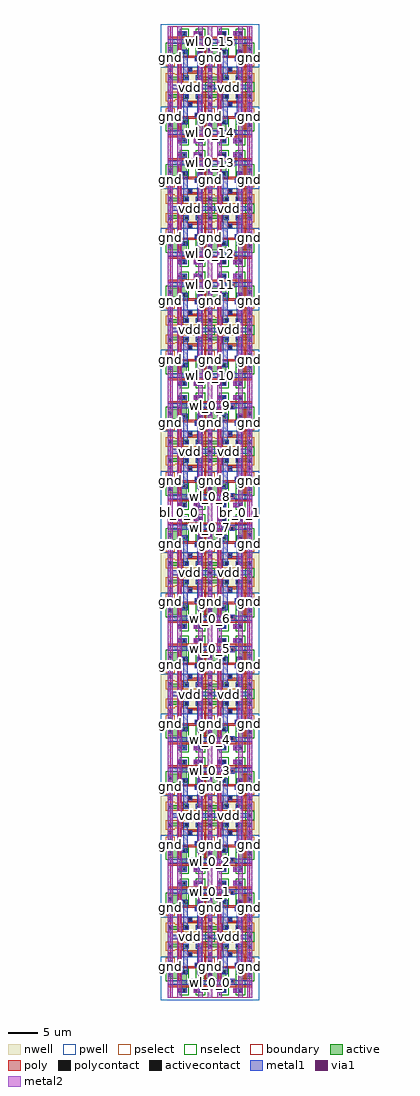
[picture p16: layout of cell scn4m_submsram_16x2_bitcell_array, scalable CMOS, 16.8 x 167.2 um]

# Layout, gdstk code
import gdstk
lib = gdstk.Library(unit=1e-6, precision=1e-09)
def R(c, l, rs):  # rectangles x0, y0, x1, y1
    for r in rs: c.add(gdstk.rectangle(r[:2], r[2:], *l))
def A(c, l, x, y, w, h, nx, ny, dx, dy):  # array of equal rectangles
    R(c, l, [(x+i*dx, y+j*dy, x+i*dx+w, y+j*dy+h) for i in range(nx) for j in range(ny)])
pwell = (41, 0)
nwell = (42, 0)
active = (43, 0)
pselect = (44, 0)
nselect = (45, 0)
poly = (46, 0)
polycontact = (47, 0)
activecontact = (48, 0)
metal1 = (49, 0)
via1 = (50, 0)
metal2 = (51, 0)
boundary = (63, 0)

cell_1rw = lib.new_cell('cell_1rw')
R(cell_1rw, pwell, [(-1.6,-0.4,8.4,7)])
R(cell_1rw, nwell, [(-1.6,7,8.4,11.4)])
A(cell_1rw, active, 2.4, 8.4, 0.8, 0.2, 3, 1, 2, 0)
R(cell_1rw, active, [(2,0.8,2.8,3.2), (4.8,0.8,5.6,3.2), (-0.4,3.2,2.8,4.8), (4.8,3.2,7.2,4.8), (-0.4,5.6,0.4,6.4), (6.4,5.6,7.2,6.4), (-0.4,8.4,0.4,8.6), (-0.4,8.6,3.2,9.2), (4.4,8.6,7.2,9.2), (6.4,10,7.2,10.8)])
R(cell_1rw, pselect, [(-0.8,5.2,0.8,6.8), (6,5.2,7.6,6.8), (-0.8,8,0.8,8.2), (2,8,7.6,8.2), (-0.8,8.2,7.6,9.6)])
R(cell_1rw, nselect, [(1.6,0.4,3.2,2.8), (4.4,0.4,6,2.8), (-0.8,2.8,3.2,5.2), (4.4,2.8,7.6,5.2), (6,9.6,7.6,11.2)])
R(cell_1rw, poly, [(-0.4,1.8,7.2,2.2), (3.4,2.2,4.2,3.2), (1.4,2.8,1.8,5), (5.8,2.8,6.2,7.6), (1.4,5,4.8,5.2), (1.4,5.2,5,5.4), (1.4,5.4,1.8,8.2), (4.2,5.4,5,6), (3,7,3.8,7.6), (3,7.6,6.2,8), (5.4,8,6.2,9.6), (1.4,8.2,2.2,9.6)])
R(cell_1rw, polycontact, [(3.6,2.6,4,3), (4.4,5.4,4.8,5.8), (3.2,7.2,3.6,7.6)])
A(cell_1rw, activecontact, 2.6, 8.6, 0.4, 0.4, 3, 1, 2, 0)
R(cell_1rw, activecontact, [(2.2,1,2.6,1.4), (5,1,5.4,1.4), (-0.2,3.8,0.2,4.2), (6.6,3.8,7,4.2), (2.2,4.2,2.6,4.6), (5,4.2,5.4,4.6), (-0.2,5.8,0.2,6.2), (6.6,5.8,7,6.2), (-0.2,8.6,0.2,9), (6.6,10.2,7,10.6)])
R(cell_1rw, metal1, [(1.2,0.8,2.8,1.6), (4,0.8,5.6,1.6), (-0.4,2.2,7.2,3), (-0.4,2.2,7.2,3), (3.4,3,4.2,3.2), (-0.4,3.6,0.4,7.8), (6.4,3.6,7.2,7.8), (2,4,3,4.8), (4.6,4,5.6,4.8), (2.2,4.8,3,7), (4.6,4.8,5.4,5.2), (4.2,5.2,5.4,6), (4.6,6,5.4,8.4), (2.2,7,3.8,7.8), (2.2,7.8,3,8.4), (-0.4,8.4,0.4,10), (2.2,8.4,3.2,9.2), (4.4,8.4,5.4,9.2), (6.4,8.4,7.2,10), (-0.4,10,7.2,10.8), (-0.4,10,7.2,10.8)])
R(cell_1rw, via1, [(1.4,1,1.8,1.4), (4.2,1,4.6,1.4), (-0.2,7.2,0.2,7.6), (6.6,7.2,7,7.6)])
R(cell_1rw, metal2, [(-0.4,0,0.4,10.8), (-0.4,0,0.4,10.8), (1.2,0,2,10.8), (1.2,0,2,10.8), (4.8,0,5.6,0.8), (6.4,0,7.2,10.8), (6.4,0,7.2,10.8), (4,0.8,5.6,1.6), (4.8,1.6,5.6,10.8), (4.8,1.6,5.6,10.8)])
R(cell_1rw, boundary, [(0,0,6.8,10.4)])
cell_1rw.add(gdstk.Label('vdd', (3.43,10.4), layer=49, texttype=0))
cell_1rw.add(gdstk.Label('wl', (0.8,2.6), layer=49, texttype=0))
cell_1rw.add(gdstk.Label('Q', (3.4,7.4), layer=49, texttype=0))
cell_1rw.add(gdstk.Label('Q_bar', (4.6,5.6), layer=49, texttype=0))
cell_1rw.add(gdstk.Label('gnd', (0,1.2), layer=51, texttype=0))
cell_1rw.add(gdstk.Label('gnd', (6.8,1.2), layer=51, texttype=0))
cell_1rw.add(gdstk.Label('bl', (1.6,9.8), layer=51, texttype=0))
cell_1rw.add(gdstk.Label('br', (5.2,9.8), layer=51, texttype=0))
cell_1rw.add(gdstk.Label('bl', (1.6,5.4), layer=51, texttype=0))
cell_1rw.add(gdstk.Label('br', (5.2,6.2), layer=51, texttype=0))
cell_1rw.add(gdstk.Label('wl', (3.4,2.6), layer=49, texttype=0))
cell_1rw.add(gdstk.Label('vdd', (3.4,10.4), layer=49, texttype=0))
cell_1rw.add(gdstk.Label('gnd', (0,5.4), layer=51, texttype=0))
cell_1rw.add(gdstk.Label('gnd', (6.8,5.4), layer=51, texttype=0))

scn4m_submsram_16x2_bitc = lib.new_cell('scn4m_submsram_16x2_bitcell_array')
A(scn4m_submsram_16x2_bitc, metal1, -0.4, 10, 7.6, 0.8, 1, 8, 0, 20.8)
A(scn4m_submsram_16x2_bitc, metal1, 6.4, 10, 7.6, 0.8, 1, 8, 0, 20.8)
R(scn4m_submsram_16x2_bitc, metal1, [(0,2.2,13.6,3), (0,17.8,13.6,18.6), (0,23,13.6,23.8), (0,38.6,13.6,39.4), (0,43.8,13.6,44.6), (0,59.4,13.6,60.2), (0,64.6,13.6,65.4), (0,80.2,13.6,81), (0,85.4,13.6,86.2), (0,101,13.6,101.8), (0,106.2,13.6,107), (0,121.8,13.6,122.6), (0,127,13.6,127.8), (0,142.6,13.6,143.4), (0,147.8,13.6,148.6), (0,163.4,13.6,164.2)])
A(scn4m_submsram_16x2_bitc, metal2, -0.4, 0, 0.8, 10.8, 3, 2, 6.8, 10)
A(scn4m_submsram_16x2_bitc, metal2, -0.4, 20.8, 0.8, 10.8, 3, 2, 6.8, 10)
A(scn4m_submsram_16x2_bitc, metal2, -0.4, 41.6, 0.8, 10.8, 3, 2, 6.8, 10)
A(scn4m_submsram_16x2_bitc, metal2, -0.4, 62.4, 0.8, 10.8, 3, 2, 6.8, 10)
A(scn4m_submsram_16x2_bitc, metal2, -0.4, 83.2, 0.8, 10.8, 3, 2, 6.8, 10)
A(scn4m_submsram_16x2_bitc, metal2, -0.4, 104, 0.8, 10.8, 3, 2, 6.8, 10)
A(scn4m_submsram_16x2_bitc, metal2, -0.4, 124.8, 0.8, 10.8, 3, 2, 6.8, 10)
A(scn4m_submsram_16x2_bitc, metal2, -0.4, 145.6, 0.8, 10.8, 3, 2, 6.8, 10)
R(scn4m_submsram_16x2_bitc, metal2, [(1.2,0,2,166.4), (4.8,0,5.6,166.4), (8,0,8.8,166.4), (11.6,0,12.4,166.4)])
R(scn4m_submsram_16x2_bitc, boundary, [(0,0,13.6,166.4)])
scn4m_submsram_16x2_bitc.add(gdstk.Reference(cell_1rw, (0,0)))
scn4m_submsram_16x2_bitc.add(gdstk.Reference(cell_1rw, (0,20.8), x_reflection=True))
scn4m_submsram_16x2_bitc.add(gdstk.Reference(cell_1rw, (0,20.8)))
scn4m_submsram_16x2_bitc.add(gdstk.Reference(cell_1rw, (0,41.6), x_reflection=True))
scn4m_submsram_16x2_bitc.add(gdstk.Reference(cell_1rw, (0,41.6)))
scn4m_submsram_16x2_bitc.add(gdstk.Reference(cell_1rw, (0,62.4), x_reflection=True))
scn4m_submsram_16x2_bitc.add(gdstk.Reference(cell_1rw, (0,62.4)))
scn4m_submsram_16x2_bitc.add(gdstk.Reference(cell_1rw, (0,83.2), x_reflection=True))
scn4m_submsram_16x2_bitc.add(gdstk.Reference(cell_1rw, (0,83.2)))
scn4m_submsram_16x2_bitc.add(gdstk.Reference(cell_1rw, (0,104), x_reflection=True))
scn4m_submsram_16x2_bitc.add(gdstk.Reference(cell_1rw, (0,104)))
scn4m_submsram_16x2_bitc.add(gdstk.Reference(cell_1rw, (0,124.8), x_reflection=True))
scn4m_submsram_16x2_bitc.add(gdstk.Reference(cell_1rw, (0,124.8)))
scn4m_submsram_16x2_bitc.add(gdstk.Reference(cell_1rw, (0,145.6), x_reflection=True))
scn4m_submsram_16x2_bitc.add(gdstk.Reference(cell_1rw, (0,145.6)))
scn4m_submsram_16x2_bitc.add(gdstk.Reference(cell_1rw, (0,166.4), x_reflection=True))
scn4m_submsram_16x2_bitc.add(gdstk.Reference(cell_1rw, (6.8,0)))
scn4m_submsram_16x2_bitc.add(gdstk.Reference(cell_1rw, (6.8,20.8), x_reflection=True))
scn4m_submsram_16x2_bitc.add(gdstk.Reference(cell_1rw, (6.8,20.8)))
scn4m_submsram_16x2_bitc.add(gdstk.Reference(cell_1rw, (6.8,41.6), x_reflection=True))
scn4m_submsram_16x2_bitc.add(gdstk.Reference(cell_1rw, (6.8,41.6)))
scn4m_submsram_16x2_bitc.add(gdstk.Reference(cell_1rw, (6.8,62.4), x_reflection=True))
scn4m_submsram_16x2_bitc.add(gdstk.Reference(cell_1rw, (6.8,62.4)))
scn4m_submsram_16x2_bitc.add(gdstk.Reference(cell_1rw, (6.8,83.2), x_reflection=True))
scn4m_submsram_16x2_bitc.add(gdstk.Reference(cell_1rw, (6.8,83.2)))
scn4m_submsram_16x2_bitc.add(gdstk.Reference(cell_1rw, (6.8,104), x_reflection=True))
scn4m_submsram_16x2_bitc.add(gdstk.Reference(cell_1rw, (6.8,104)))
scn4m_submsram_16x2_bitc.add(gdstk.Reference(cell_1rw, (6.8,124.8), x_reflection=True))
scn4m_submsram_16x2_bitc.add(gdstk.Reference(cell_1rw, (6.8,124.8)))
scn4m_submsram_16x2_bitc.add(gdstk.Reference(cell_1rw, (6.8,145.6), x_reflection=True))
scn4m_submsram_16x2_bitc.add(gdstk.Reference(cell_1rw, (6.8,145.6)))
scn4m_submsram_16x2_bitc.add(gdstk.Reference(cell_1rw, (6.8,166.4), x_reflection=True))
scn4m_submsram_16x2_bitc.add(gdstk.Label('bl_0_0', (1.6,83.2), layer=51, texttype=0))
scn4m_submsram_16x2_bitc.add(gdstk.Label('br_0_0', (5.2,83.2), layer=51, texttype=0))
scn4m_submsram_16x2_bitc.add(gdstk.Label('bl_0_1', (8.4,83.2), layer=51, texttype=0))
scn4m_submsram_16x2_bitc.add(gdstk.Label('br_0_1', (12,83.2), layer=51, texttype=0))
scn4m_submsram_16x2_bitc.add(gdstk.Label('wl_0_0', (6.8,2.6), layer=49, texttype=0))
scn4m_submsram_16x2_bitc.add(gdstk.Label('wl_0_1', (6.8,18.2), layer=49, texttype=0))
scn4m_submsram_16x2_bitc.add(gdstk.Label('wl_0_2', (6.8,23.4), layer=49, texttype=0))
scn4m_submsram_16x2_bitc.add(gdstk.Label('wl_0_3', (6.8,39), layer=49, texttype=0))
scn4m_submsram_16x2_bitc.add(gdstk.Label('wl_0_4', (6.8,44.2), layer=49, texttype=0))
scn4m_submsram_16x2_bitc.add(gdstk.Label('wl_0_5', (6.8,59.8), layer=49, texttype=0))
scn4m_submsram_16x2_bitc.add(gdstk.Label('wl_0_6', (6.8,65), layer=49, texttype=0))
scn4m_submsram_16x2_bitc.add(gdstk.Label('wl_0_7', (6.8,80.6), layer=49, texttype=0))
scn4m_submsram_16x2_bitc.add(gdstk.Label('wl_0_8', (6.8,85.8), layer=49, texttype=0))
scn4m_submsram_16x2_bitc.add(gdstk.Label('wl_0_9', (6.8,101.4), layer=49, texttype=0))
scn4m_submsram_16x2_bitc.add(gdstk.Label('wl_0_10', (6.8,106.6), layer=49, texttype=0))
scn4m_submsram_16x2_bitc.add(gdstk.Label('wl_0_11', (6.8,122.2), layer=49, texttype=0))
scn4m_submsram_16x2_bitc.add(gdstk.Label('wl_0_12', (6.8,127.4), layer=49, texttype=0))
scn4m_submsram_16x2_bitc.add(gdstk.Label('wl_0_13', (6.8,143), layer=49, texttype=0))
scn4m_submsram_16x2_bitc.add(gdstk.Label('wl_0_14', (6.8,148.2), layer=49, texttype=0))
scn4m_submsram_16x2_bitc.add(gdstk.Label('wl_0_15', (6.8,163.8), layer=49, texttype=0))
scn4m_submsram_16x2_bitc.add(gdstk.Label('vdd', (10.2,156), layer=49, texttype=0))
scn4m_submsram_16x2_bitc.add(gdstk.Label('vdd', (3.4,156), layer=49, texttype=0))
scn4m_submsram_16x2_bitc.add(gdstk.Label('vdd', (10.2,31.2), layer=49, texttype=0))
scn4m_submsram_16x2_bitc.add(gdstk.Label('vdd', (3.4,31.2), layer=49, texttype=0))
scn4m_submsram_16x2_bitc.add(gdstk.Label('vdd', (3.4,72.8), layer=49, texttype=0))
scn4m_submsram_16x2_bitc.add(gdstk.Label('vdd', (3.4,114.4), layer=49, texttype=0))
scn4m_submsram_16x2_bitc.add(gdstk.Label('vdd', (10.2,114.4), layer=49, texttype=0))
scn4m_submsram_16x2_bitc.add(gdstk.Label('vdd', (10.2,93.6), layer=49, texttype=0))
scn4m_submsram_16x2_bitc.add(gdstk.Label('vdd', (10.2,135.2), layer=49, texttype=0))
scn4m_submsram_16x2_bitc.add(gdstk.Label('vdd', (10.2,52), layer=49, texttype=0))
scn4m_submsram_16x2_bitc.add(gdstk.Label('vdd', (3.4,135.2), layer=49, texttype=0))
scn4m_submsram_16x2_bitc.add(gdstk.Label('vdd', (10.2,10.4), layer=49, texttype=0))
scn4m_submsram_16x2_bitc.add(gdstk.Label('vdd', (3.4,52), layer=49, texttype=0))
scn4m_submsram_16x2_bitc.add(gdstk.Label('vdd', (3.4,93.6), layer=49, texttype=0))
scn4m_submsram_16x2_bitc.add(gdstk.Label('vdd', (3.4,10.4), layer=49, texttype=0))
scn4m_submsram_16x2_bitc.add(gdstk.Label('vdd', (10.2,72.8), layer=49, texttype=0))
scn4m_submsram_16x2_bitc.add(gdstk.Label('gnd', (6.8,47), layer=51, texttype=0))
scn4m_submsram_16x2_bitc.add(gdstk.Label('gnd', (6.8,119.4), layer=51, texttype=0))
scn4m_submsram_16x2_bitc.add(gdstk.Label('gnd', (13.6,161), layer=51, texttype=0))
scn4m_submsram_16x2_bitc.add(gdstk.Label('gnd', (0,98.6), layer=51, texttype=0))
scn4m_submsram_16x2_bitc.add(gdstk.Label('gnd', (13.6,15.4), layer=51, texttype=0))
scn4m_submsram_16x2_bitc.add(gdstk.Label('gnd', (6.8,161), layer=51, texttype=0))
scn4m_submsram_16x2_bitc.add(gdstk.Label('gnd', (0,36.2), layer=51, texttype=0))
scn4m_submsram_16x2_bitc.add(gdstk.Label('gnd', (6.8,130.2), layer=51, texttype=0))
scn4m_submsram_16x2_bitc.add(gdstk.Label('gnd', (13.6,77.8), layer=51, texttype=0))
scn4m_submsram_16x2_bitc.add(gdstk.Label('gnd', (13.6,151), layer=51, texttype=0))
scn4m_submsram_16x2_bitc.add(gdstk.Label('gnd', (0,109.4), layer=51, texttype=0))
scn4m_submsram_16x2_bitc.add(gdstk.Label('gnd', (13.6,57), layer=51, texttype=0))
scn4m_submsram_16x2_bitc.add(gdstk.Label('gnd', (6.8,57), layer=51, texttype=0))
scn4m_submsram_16x2_bitc.add(gdstk.Label('gnd', (13.6,119.4), layer=51, texttype=0))
scn4m_submsram_16x2_bitc.add(gdstk.Label('gnd', (0,140.2), layer=51, texttype=0))
scn4m_submsram_16x2_bitc.add(gdstk.Label('gnd', (13.6,5.4), layer=51, texttype=0))
scn4m_submsram_16x2_bitc.add(gdstk.Label('gnd', (13.6,130.2), layer=51, texttype=0))
scn4m_submsram_16x2_bitc.add(gdstk.Label('gnd', (13.6,88.6), layer=51, texttype=0))
scn4m_submsram_16x2_bitc.add(gdstk.Label('gnd', (6.8,109.4), layer=51, texttype=0))
scn4m_submsram_16x2_bitc.add(gdstk.Label('gnd', (0,130.2), layer=51, texttype=0))
scn4m_submsram_16x2_bitc.add(gdstk.Label('gnd', (6.8,36.2), layer=51, texttype=0))
scn4m_submsram_16x2_bitc.add(gdstk.Label('gnd', (6.8,67.8), layer=51, texttype=0))
scn4m_submsram_16x2_bitc.add(gdstk.Label('gnd', (0,77.8), layer=51, texttype=0))
scn4m_submsram_16x2_bitc.add(gdstk.Label('gnd', (0,67.8), layer=51, texttype=0))
scn4m_submsram_16x2_bitc.add(gdstk.Label('gnd', (0,57), layer=51, texttype=0))
scn4m_submsram_16x2_bitc.add(gdstk.Label('gnd', (6.8,5.4), layer=51, texttype=0))
scn4m_submsram_16x2_bitc.add(gdstk.Label('gnd', (0,119.4), layer=51, texttype=0))
scn4m_submsram_16x2_bitc.add(gdstk.Label('gnd', (13.6,47), layer=51, texttype=0))
scn4m_submsram_16x2_bitc.add(gdstk.Label('gnd', (0,88.6), layer=51, texttype=0))
scn4m_submsram_16x2_bitc.add(gdstk.Label('gnd', (6.8,140.2), layer=51, texttype=0))
scn4m_submsram_16x2_bitc.add(gdstk.Label('gnd', (13.6,67.8), layer=51, texttype=0))
scn4m_submsram_16x2_bitc.add(gdstk.Label('gnd', (13.6,140.2), layer=51, texttype=0))
scn4m_submsram_16x2_bitc.add(gdstk.Label('gnd', (13.6,36.2), layer=51, texttype=0))
scn4m_submsram_16x2_bitc.add(gdstk.Label('gnd', (0,151), layer=51, texttype=0))
scn4m_submsram_16x2_bitc.add(gdstk.Label('gnd', (6.8,77.8), layer=51, texttype=0))
scn4m_submsram_16x2_bitc.add(gdstk.Label('gnd', (0,26.2), layer=51, texttype=0))
scn4m_submsram_16x2_bitc.add(gdstk.Label('gnd', (0,47), layer=51, texttype=0))
scn4m_submsram_16x2_bitc.add(gdstk.Label('gnd', (6.8,98.6), layer=51, texttype=0))
scn4m_submsram_16x2_bitc.add(gdstk.Label('gnd', (6.8,88.6), layer=51, texttype=0))
scn4m_submsram_16x2_bitc.add(gdstk.Label('gnd', (0,5.4), layer=51, texttype=0))
scn4m_submsram_16x2_bitc.add(gdstk.Label('gnd', (0,15.4), layer=51, texttype=0))
scn4m_submsram_16x2_bitc.add(gdstk.Label('gnd', (13.6,26.2), layer=51, texttype=0))
scn4m_submsram_16x2_bitc.add(gdstk.Label('gnd', (6.8,15.4), layer=51, texttype=0))
scn4m_submsram_16x2_bitc.add(gdstk.Label('gnd', (0,161), layer=51, texttype=0))
scn4m_submsram_16x2_bitc.add(gdstk.Label('gnd', (13.6,109.4), layer=51, texttype=0))
scn4m_submsram_16x2_bitc.add(gdstk.Label('gnd', (6.8,26.2), layer=51, texttype=0))
scn4m_submsram_16x2_bitc.add(gdstk.Label('gnd', (6.8,151), layer=51, texttype=0))
scn4m_submsram_16x2_bitc.add(gdstk.Label('gnd', (13.6,98.6), layer=51, texttype=0))

lib.write_gds('scn4m_submsram_16x2_bitcell_array.gds')
